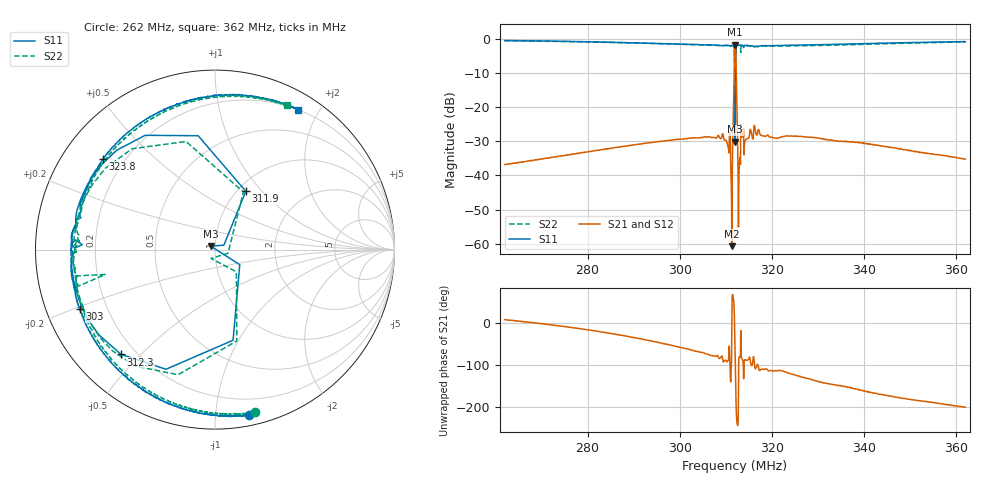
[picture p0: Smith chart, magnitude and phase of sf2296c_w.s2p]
# Hz S RI R 50
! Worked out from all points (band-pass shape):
!   1601 points, 262 MHz to 362 MHz, reference 50 ohm
!   highest |S21| = -1.71 dB at 312 MHz (marker M1); lowest = -60.7 dB at 311.3 MHz (marker M2)
!   |S21| within 3 dB of the highest: 311.9008 MHz to 312.2029 MHz (302.2 kHz wide, 0.0968 % of centre)
!   lowest |S11| = -30.1 dB at 312.1 MHz (marker M3), VSWR 1.06, Z = 47.6 + j1.87 ohm
!   |S11| at or under -10 dB: 311.9425 MHz to 312.1612 MHz (218.8 kHz wide, 0.0701 % of centre)
!   |S22| runs from -25.3 to -0.6 dB; largest |S21 - S12| = 0.0044
!   S11 on the Smith chart (normalised r, x): 262 MHz: 0.08, -1.22; 303 MHz: 0.10, -0.21; 311.9 MHz: 1.09, +0.82; 312.3 MHz: 0.14, -0.44; 323.8 MHz: 0.12, +0.35; 362 MHz: 0.20, +1.74
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2.62e8  0.1896 -0.9217  0.0142 0.00215  0.0142 0.00219  0.2222 -0.907
2.786875e8  -0.166 -0.8916  0.021 -0.00494  0.0209 -0.00498  -0.111 -0.8936
2.95375e8  -0.6015 -0.6029  0.0218 -0.0224  0.022 -0.0224  -0.5265 -0.6646
3.03e8  -0.7522 -0.3308  0.0149 -0.0321  0.0149 -0.0322  -0.6969 -0.4333
3.09625e8  -0.799 -0.00481  -0.000419 -0.0335  -0.000383 -0.0336  -0.778 -0.1319
3.105e8  -0.7966 0.0846  0.000532 -0.0264  0.000459 -0.0264  -0.792 -0.0466
3.109375e8  -0.7763 0.142  -0.00882 -0.0392  -0.00873 -0.0392  -0.7821 0.0128
3.113125e8  -0.7662 0.2273  0.000909 -0.000149  0.000951 -0.000272  -0.7797 0.0986
3.11625e8  -0.6804 0.4089  0.0343 0.0623  0.0344 0.0622  -0.7248 0.2895
3.119375e8  0.1716 0.3253  0.6761 -0.2854  0.6756 -0.2818  0.1582 0.3209
3.12e8  0.0491 0.0243  0.389 -0.7232  0.3858 -0.7235  0.0723 -0.0207
3.120625e8  -0.0242 0.0196  -0.0592 -0.8176  -0.0629 -0.8196  -0.0223 -0.0492
3.123125e8  -0.5227 -0.5841  -0.1799 0.1484  -0.1799 0.1493  -0.446 -0.6485
3.125e8  -0.7401 -0.3255  -0.0252 0.0468  -0.0251 0.0471  -0.6796 -0.4324
3.126875e8  -0.7788 -0.2  -0.00476 0.00624  -0.0047 0.00638  -0.7357 -0.3168
3.130625e8  -0.8015 -0.0769  0.00279 -0.018  0.00293 -0.0179  -0.7715 -0.196
3.1375e8  -0.7925 0.0391  -0.00134 -0.0436  -0.0013 -0.0437  -0.7821 -0.1126
3.158125e8  -0.764 0.1731  -0.00315 -0.0344  -0.00321 -0.0344  -0.7742 0.0408
3.238125e8  -0.6238 0.5054  -0.0185 -0.0328  -0.0185 -0.033  -0.6842 0.3848
3.286875e8  -0.4773 0.6594  -0.0253 -0.0258  -0.0252 -0.0258  -0.5576 0.5644
3.45375e8  0.0678 0.8597  -0.0255 -0.00304  -0.0256 -0.00309  -0.0213 0.8459
3.62e8  0.4636 0.7772  -0.0163 0.00587  -0.0164 0.00592  0.3991 0.8035
